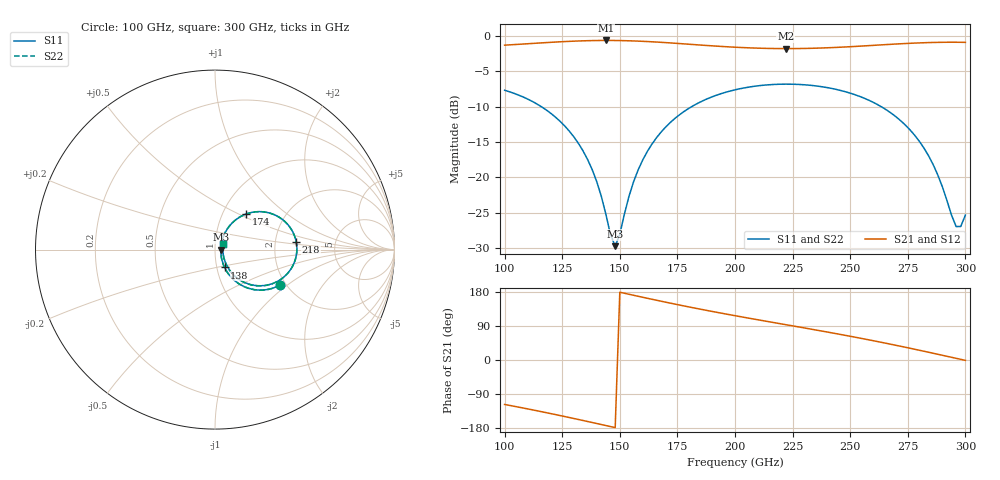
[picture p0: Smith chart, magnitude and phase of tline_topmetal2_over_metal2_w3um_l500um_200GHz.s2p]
#  GHZ S DB R 50
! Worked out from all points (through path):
!   101 points, 100 GHz to 300 GHz, reference 50 ohm
!   highest |S21| = -0.63 dB at 144 GHz (marker M1); lowest = -1.8 dB at 222 GHz (marker M2)
!   group delay of S21, straight-line fit = 3.32 ps
!   lowest |S11| = -29.8 dB at 148 GHz (marker M3), VSWR 1.07, Z = 53.4 - j0.0273 ohm
!   |S11| at or under -10 dB: 115.9 GHz to 181.2 GHz (65.29 GHz wide, 43.9 % of centre); 263.4 GHz to end of sweep
!   |S22| runs from -29.9 to -6.8 dB; largest |S21 - S12| = 1.6e-13
!   S11 on the Smith chart (normalised r, x): 100 GHz: 1.87, -0.89; 138 GHz: 1.09, -0.22; 174 GHz: 1.28, +0.54; 218 GHz: 2.64, +0.28; 300 GHz: 1.09, +0.07
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100  -7.68 -28.4  -1.29 -117.3  -1.29 -117.3  -7.68 -28.5
120  -10.93 -49.2  -0.89 -141.4  -0.89 -141.4  -10.93 -49.4
134  -16.25 -61.0  -0.68 -159.6  -0.68 -159.6  -16.25 -61.3
138  -18.91 -61.6  -0.65 -164.9  -0.65 -164.9  -18.92 -62.0
144  -25.30 -49.3  -0.63 -173.0  -0.63 -173.0  -25.35 -50.0
146  -28.18 -32.2  -0.63 -175.8  -0.63 -175.8  -28.29 -32.9
148  -29.76 -0.5  -0.63 -178.5  -0.63 -178.5  -29.93 -0.7
158  -18.93 59.2  -0.72 168.1  -0.72 168.1  -18.95 59.4
168  -13.57 54.5  -0.89 155.0  -0.89 155.0  -13.58 54.6
174  -11.65 49.0  -1.02 147.4  -1.02 147.4  -11.65 49.1
200  -7.62 22.9  -1.58 117.0  -1.58 117.0  -7.62 22.8
218  -6.84 5.2  -1.77 97.5  -1.77 97.5  -6.84 5.1
222  -6.81 1.3  -1.78 93.3  -1.78 93.3  -6.82 1.2
234  -7.02 -10.3  -1.73 80.4  -1.73 80.4  -7.02 -10.5
252  -8.30 -28.2  -1.48 60.3  -1.48 60.3  -8.30 -28.4
268  -10.97 -43.9  -1.17 41.1  -1.17 41.1  -10.97 -44.2
276  -13.30 -50.8  -1.03 30.9  -1.03 30.9  -13.31 -51.1
284  -16.95 -54.5  -0.93 20.5  -0.93 20.5  -16.96 -55.0
288  -19.65 -52.6  -0.90 15.1  -0.90 15.1  -19.68 -53.2
296  -26.99 -11.0  -0.88 4.4  -0.88 4.4  -27.15 -11.5
298  -26.97 13.8  -0.89 1.7  -0.89 1.7  -27.14 13.9
300  -25.36 33.6  -0.90 -1.0  -0.90 -1.0  -25.47 34.0
